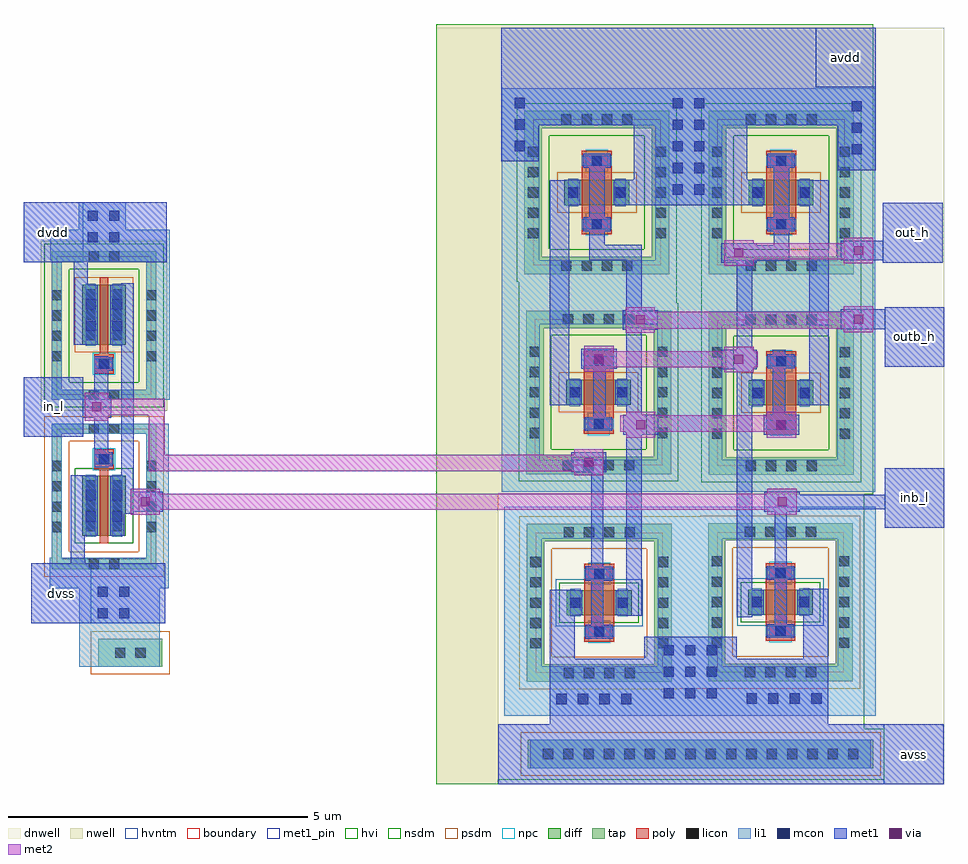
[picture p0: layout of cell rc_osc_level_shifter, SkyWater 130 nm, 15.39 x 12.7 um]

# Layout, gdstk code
import gdstk
lib = gdstk.Library(unit=1e-6, precision=1e-09)
def R(c, l, rs):  # rectangles x0, y0, x1, y1
    for r in rs: c.add(gdstk.rectangle(r[:2], r[2:], *l))
def A(c, l, x, y, w, h, nx, ny, dx, dy):  # array of equal rectangles
    R(c, l, [(x+i*dx, y+j*dy, x+i*dx+w, y+j*dy+h) for i in range(nx) for j in range(ny)])
dnwell = (64, 18)
nwell = (64, 20)
diff = (65, 20)
tap = (65, 44)
poly = (66, 20)
licon = (66, 44)
li1 = (67, 20)
mcon = (67, 44)
met1_pin = (68, 16)
met1 = (68, 20)
via = (68, 44)
met2 = (69, 20)
hvi = (75, 20)
nsdm = (93, 44)
psdm = (94, 20)
npc = (95, 20)
hvntm = (125, 20)
boundary = (235, 4)

sky130_fd_pr__nfet_g5v0d = lib.new_cell('sky130_fd_pr__nfet_g5v0d10v5_6XHUDR')
R(sky130_fd_pr__nfet_g5v0d, diff, [(-0.54,-0.21,0.54,0.21)])
R(sky130_fd_pr__nfet_g5v0d, tap, [(-1.21,-1.32,1.21,-1.03), (-1.21,-1.03,-0.92,1.03), (0.92,-1.03,1.21,1.03), (-1.21,1.03,1.21,1.32)])
R(sky130_fd_pr__nfet_g5v0d, poly, [(-0.25,-0.65,0.25,0.65)])
A(sky130_fd_pr__nfet_g5v0d, licon, -0.595, -1.26, 0.17, 0.17, 4, 2, 0.34, 2.35)
A(sky130_fd_pr__nfet_g5v0d, licon, -1.15, -0.765, 0.17, 0.17, 1, 5, 0, 0.34)
A(sky130_fd_pr__nfet_g5v0d, licon, 0.98, -0.765, 0.17, 0.17, 1, 5, 0, 0.34)
R(sky130_fd_pr__nfet_g5v0d, licon, [(-0.085,-0.57,0.085,-0.4), (-0.48,-0.085,-0.31,0.085), (0.31,-0.085,0.48,0.085), (-0.085,0.4,0.085,0.57)])
R(sky130_fd_pr__nfet_g5v0d, li1, [(-1.15,-1.26,1.15,-1.09), (-1.15,-1.09,-0.98,1.09), (0.98,-1.09,1.15,1.09), (-0.25,-0.57,0.25,-0.4), (-0.48,-0.23,-0.31,0.23), (0.31,-0.23,0.48,0.23), (-0.25,0.4,0.25,0.57), (-1.15,1.09,1.15,1.26)])
R(sky130_fd_pr__nfet_g5v0d, mcon, [(-0.085,-0.57,0.085,-0.4), (-0.48,-0.085,-0.31,0.085), (0.31,-0.085,0.48,0.085), (-0.085,0.4,0.085,0.57)])
R(sky130_fd_pr__nfet_g5v0d, met1, [(-0.23,-0.6,0.23,-0.37), (-0.51,-0.21,-0.28,0.21), (0.28,-0.21,0.51,0.21), (-0.23,0.37,0.23,0.6)])
R(sky130_fd_pr__nfet_g5v0d, hvi, [(-1.395,-1.505,1.395,1.505)])
R(sky130_fd_pr__nfet_g5v0d, nsdm, [(-0.665,-0.335,0.665,0.335)])
R(sky130_fd_pr__nfet_g5v0d, psdm, [(-1.335,-1.445,1.335,-0.905), (-1.335,-0.905,-0.795,0.905), (0.795,-0.905,1.335,0.905), (-1.335,0.905,1.335,1.445)])
R(sky130_fd_pr__nfet_g5v0d, npc, [(-0.185,-0.67,0.185,-0.3), (-0.185,0.3,0.185,0.67)])
R(sky130_fd_pr__nfet_g5v0d, hvntm, [(-0.725,-0.395,0.725,0.395)])
R(sky130_fd_pr__nfet_g5v0d, boundary, [(-1.06,-1.17,1.06,1.17)])

sky130_fd_pr__pfet_g5v0d = lib.new_cell('sky130_fd_pr__pfet_g5v0d10v5_6ELFTH')
R(sky130_fd_pr__pfet_g5v0d, nwell, [(-1.54,-1.695,1.54,1.695)])
R(sky130_fd_pr__pfet_g5v0d, diff, [(-0.54,-0.21,0.54,0.21)])
R(sky130_fd_pr__pfet_g5v0d, tap, [(-1.21,-1.365,1.21,-1.075), (-1.21,-1.075,-0.92,1.075), (0.92,-1.075,1.21,1.075), (-1.21,1.075,1.21,1.365)])
R(sky130_fd_pr__pfet_g5v0d, poly, [(-0.25,-0.695,0.25,0.695)])
A(sky130_fd_pr__pfet_g5v0d, licon, -0.595, -1.305, 0.17, 0.17, 4, 2, 0.34, 2.44)
A(sky130_fd_pr__pfet_g5v0d, licon, -1.15, -0.765, 0.17, 0.17, 1, 5, 0, 0.34)
A(sky130_fd_pr__pfet_g5v0d, licon, 0.98, -0.765, 0.17, 0.17, 1, 5, 0, 0.34)
R(sky130_fd_pr__pfet_g5v0d, licon, [(-0.085,-0.615,0.085,-0.445), (-0.48,-0.085,-0.31,0.085), (0.31,-0.085,0.48,0.085), (-0.085,0.445,0.085,0.615)])
R(sky130_fd_pr__pfet_g5v0d, li1, [(-1.15,-1.305,1.15,-1.135), (-1.15,-1.135,-0.98,1.135), (0.98,-1.135,1.15,1.135), (-0.25,-0.615,0.25,-0.445), (-0.48,-0.23,-0.31,0.23), (0.31,-0.23,0.48,0.23), (-0.25,0.445,0.25,0.615), (-1.15,1.135,1.15,1.305)])
R(sky130_fd_pr__pfet_g5v0d, mcon, [(-0.085,-0.615,0.085,-0.445), (-0.48,-0.085,-0.31,0.085), (0.31,-0.085,0.48,0.085), (-0.085,0.445,0.085,0.615)])
R(sky130_fd_pr__pfet_g5v0d, met1, [(-0.23,-0.645,0.23,-0.415), (-0.51,-0.21,-0.28,0.21), (0.28,-0.21,0.51,0.21), (-0.23,0.415,0.23,0.645)])
R(sky130_fd_pr__pfet_g5v0d, hvi, [(-1.54,-1.695,1.54,1.695)])
R(sky130_fd_pr__pfet_g5v0d, nsdm, [(-1.335,-1.49,1.335,-0.95), (-1.335,-0.95,-0.795,0.95), (0.795,-0.95,1.335,0.95), (-1.335,0.95,1.335,1.49)])
R(sky130_fd_pr__pfet_g5v0d, psdm, [(-0.665,-0.335,0.665,0.335)])
R(sky130_fd_pr__pfet_g5v0d, npc, [(-0.185,-0.715,0.185,-0.345), (-0.185,0.345,0.185,0.715)])
R(sky130_fd_pr__pfet_g5v0d, boundary, [(-1.065,-1.22,1.065,1.22)])

sky130_fd_pr__pfet_01v8_ = lib.new_cell('sky130_fd_pr__pfet_01v8_LGS3BL')
R(sky130_fd_pr__pfet_01v8_, nwell, [(-1.055,-1.42,1.055,1.42)])
R(sky130_fd_pr__pfet_01v8_, diff, [(-0.365,-0.32,0.365,0.68)])
R(sky130_fd_pr__pfet_01v8_, tap, [(-0.875,-1.24,0.875,-1.07), (-0.875,-1.07,-0.705,1.07), (0.705,-1.07,0.875,1.07), (-0.875,1.07,0.875,1.24)])
R(sky130_fd_pr__pfet_01v8_, poly, [(-0.165,-0.805,0.165,-0.475), (-0.075,-0.475,0.075,0.81)])
A(sky130_fd_pr__pfet_01v8_, licon, -0.875, -0.595, 0.17, 0.17, 1, 4, 0, 0.34)
A(sky130_fd_pr__pfet_01v8_, licon, 0.705, -0.595, 0.17, 0.17, 1, 4, 0, 0.34)
A(sky130_fd_pr__pfet_01v8_, licon, -0.305, -0.245, 0.17, 0.17, 1, 3, 0, 0.34)
A(sky130_fd_pr__pfet_01v8_, licon, 0.135, -0.245, 0.17, 0.17, 1, 3, 0, 0.34)
R(sky130_fd_pr__pfet_01v8_, licon, [(-0.255,-1.24,-0.085,-1.07), (0.085,-1.24,0.255,-1.07), (-0.085,-0.725,0.085,-0.555), (-0.255,1.07,-0.085,1.24), (0.085,1.07,0.255,1.24)])
R(sky130_fd_pr__pfet_01v8_, li1, [(-0.875,-1.24,0.875,-1.07), (-0.875,-1.07,-0.705,1.07), (0.705,-1.07,0.875,1.07), (-0.165,-0.725,0.165,-0.555), (-0.305,-0.34,-0.135,0.7), (0.135,-0.34,0.305,0.7), (-0.875,1.07,0.875,1.24)])
R(sky130_fd_pr__pfet_01v8_, mcon, [(-0.085,-0.725,0.085,-0.555), (-0.305,-0.085,-0.135,0.085), (0.135,-0.085,0.305,0.085), (-0.305,0.275,-0.135,0.445), (0.135,0.275,0.305,0.445)])
R(sky130_fd_pr__pfet_01v8_, met1, [(-0.145,-0.755,0.145,-0.525), (-0.335,-0.32,-0.105,0.68), (0.105,-0.32,0.335,0.68)])
R(sky130_fd_pr__pfet_01v8_, nsdm, [(-1,-1.365,1,-0.945), (-1,-0.945,-0.58,0.945), (0.58,-0.945,1,0.945), (-1,0.945,1,1.365)])
R(sky130_fd_pr__pfet_01v8_, psdm, [(-0.49,-0.445,0.49,0.805)])
R(sky130_fd_pr__pfet_01v8_, npc, [(-0.185,-0.825,0.185,-0.455)])
R(sky130_fd_pr__pfet_01v8_, boundary, [(-0.79,-1.155,0.79,1.155)])

sky130_fd_pr__nfet_01v8_ = lib.new_cell('sky130_fd_pr__nfet_01v8_64Z3AY')
R(sky130_fd_pr__nfet_01v8_, diff, [(-0.365,-0.655,0.365,0.345)])
R(sky130_fd_pr__nfet_01v8_, tap, [(-0.875,-1.215,0.875,-1.045), (-0.875,-1.045,-0.705,1.045), (0.705,-1.045,0.875,1.045), (-0.875,1.045,0.875,1.215)])
R(sky130_fd_pr__nfet_01v8_, poly, [(-0.075,-0.785,0.075,0.455), (-0.165,0.455,0.165,0.785)])
A(sky130_fd_pr__nfet_01v8_, licon, -0.875, -0.595, 0.17, 0.17, 1, 4, 0, 0.34)
A(sky130_fd_pr__nfet_01v8_, licon, 0.705, -0.595, 0.17, 0.17, 1, 4, 0, 0.34)
A(sky130_fd_pr__nfet_01v8_, licon, -0.305, -0.58, 0.17, 0.17, 1, 3, 0, 0.34)
A(sky130_fd_pr__nfet_01v8_, licon, 0.135, -0.58, 0.17, 0.17, 1, 3, 0, 0.34)
R(sky130_fd_pr__nfet_01v8_, licon, [(-0.255,-1.215,-0.085,-1.045), (0.085,-1.215,0.255,-1.045), (-0.085,0.535,0.085,0.705), (-0.255,1.045,-0.085,1.215), (0.085,1.045,0.255,1.215)])
R(sky130_fd_pr__nfet_01v8_, li1, [(-0.875,-1.215,0.875,-1.045), (-0.875,-1.045,-0.705,1.045), (0.705,-1.045,0.875,1.045), (-0.305,-0.675,-0.135,0.365), (0.135,-0.675,0.305,0.365), (-0.165,0.535,0.165,0.705), (-0.875,1.045,0.875,1.215)])
R(sky130_fd_pr__nfet_01v8_, mcon, [(-0.305,-0.42,-0.135,-0.25), (0.135,-0.42,0.305,-0.25), (-0.305,-0.06,-0.135,0.11), (0.135,-0.06,0.305,0.11), (-0.085,0.535,0.085,0.705)])
R(sky130_fd_pr__nfet_01v8_, met1, [(-0.335,-0.655,-0.105,0.345), (0.105,-0.655,0.335,0.345), (-0.145,0.505,0.145,0.735)])
R(sky130_fd_pr__nfet_01v8_, nsdm, [(-0.49,-0.78,0.49,0.47)])
R(sky130_fd_pr__nfet_01v8_, psdm, [(-1,-1.34,1,-0.92), (-1,-0.92,-0.58,0.92), (0.58,-0.92,1,0.92), (-1,0.92,1,1.34)])
R(sky130_fd_pr__nfet_01v8_, npc, [(-0.185,0.435,0.185,0.805)])
R(sky130_fd_pr__nfet_01v8_, boundary, [(-0.79,-1.13,0.79,1.13)])

rc_osc_level_shifter = lib.new_cell('rc_osc_level_shifter')
R(rc_osc_level_shifter, dnwell, [(4.79,-12.32,13.28,0.32)])
R(rc_osc_level_shifter, nwell, [(4.79,-12.32,5.82,-7.47), (4.79,-7.47,5.96,-0.74), (4.79,-0.74,12.09,0.38)])
R(rc_osc_level_shifter, tap, [(6.32,-12.06,12.09,-11.58), (-0.86,-10.36,0.21,-9.89)])
A(rc_osc_level_shifter, licon, 6.57, -11.905, 0.17, 0.17, 16, 1, 0.34, 0)
R(rc_osc_level_shifter, licon, [(-0.58,-10.21,-0.41,-10.04), (-0.24,-10.21,-0.07,-10.04)])
R(rc_osc_level_shifter, li1, [(6.36,-12.06,12.05,-11.58), (5.92,-11.18,12.13,-10.35), (-1.18,-10.36,0.17,-9.05), (5.92,-10.35,6.55,-8.22), (8.49,-10.35,9.57,-8.22), (11.5,-10.35,12.13,-8.22), (-1.67,-9.05,0.32,-8.54), (-0.01,-8.54,0.32,-6.3), (5.92,-8.22,12.13,-7.69), (5.88,-7.44,12.12,-6.9), (5.88,-6.9,6.51,-4.57), (8.57,-6.9,9.47,-4.57), (11.49,-6.9,12.12,-4.57), (-0.01,-5.9,0.33,-3.57), (5.88,-4.57,12.12,-3.64), (5.88,-3.64,6.51,-1.31), (8.57,-3.64,9.47,-1.31), (11.49,-3.64,12.12,-1.31), (-1.66,-3.57,0.33,-3.06), (-1.19,-3.06,-0.4,-2.6), (5.88,-1.31,12.12,-0.69)])
A(rc_osc_level_shifter, mcon, 6.795, -10.985, 0.17, 0.17, 4, 1, 0.36, 0)
A(rc_osc_level_shifter, mcon, 9.975, -10.975, 0.17, 0.17, 4, 1, 0.36, 0)
A(rc_osc_level_shifter, mcon, 8.585, -10.89, 0.17, 0.17, 3, 3, 0.36, 0.36)
A(rc_osc_level_shifter, mcon, 8.735, -2.47, 0.17, 0.17, 1, 5, 0, 0.36)
A(rc_osc_level_shifter, mcon, 9.095, -2.47, 0.17, 0.17, 1, 5, 0, 0.36)
A(rc_osc_level_shifter, mcon, 11.73, -1.8, 0.17, 0.17, 1, 3, 0, 0.36)
A(rc_osc_level_shifter, mcon, 6.1, -1.745, 0.17, 0.17, 1, 3, 0, 0.36)
R(rc_osc_level_shifter, mcon, [(-0.87,-9.55,-0.7,-9.38), (-0.51,-9.55,-0.34,-9.38), (-0.87,-9.19,-0.7,-9.02), (-0.51,-9.19,-0.34,-9.02), (-1.04,-3.27,-0.87,-3.1), (-0.68,-3.27,-0.51,-3.1), (-1.04,-2.91,-0.87,-2.74), (-0.68,-2.91,-0.51,-2.74)])
R(rc_osc_level_shifter, met1_pin, [(12.265,-12.32,13.265,-11.32), (-1.98,-9.63,-0.98,-8.63), (12.28,-8.04,13.28,-7.04), (-2.11,-6.52,-1.11,-5.52), (12.28,-5.35,13.28,-4.35), (12.25,-3.61,13.25,-2.61), (-2.11,-3.6,-1.11,-2.6), (11.13,-0.68,12.13,0.32)])
R(rc_osc_level_shifter, met1, [(5.825,-12.32,13.265,-11.32), (6.68,-11.32,11.34,-10.23), (6.68,-10.23,7.1,-9.07), (8.26,-10.23,9.81,-9.86), (10.92,-10.23,11.34,-9.06), (10.44,-9.82,10.64,-7.77), (7.38,-9.81,7.58,-8.69), (-1.98,-9.63,0.26,-8.63), (9.81,-9.53,10.07,-5.39), (7.96,-9.51,8.22,-6.48), (7.28,-8.69,7.58,-8.68), (7.38,-8.68,7.58,-7.11), (-1.32,-8.63,-1.08,-8.57), (-1.32,-8.57,-1.09,-7.16), (12.28,-8.04,13.28,-7.73), (-0.48,-7.8,-0.27,-7.77), (-0.48,-7.77,0.22,-7.44), (10.27,-7.77,10.86,-7.73), (10.27,-7.73,13.28,-7.49), (10.27,-7.49,10.86,-7.44), (12.28,-7.49,13.28,-7.04), (-0.48,-7.44,-0.27,-3.95), (7.04,-7.11,7.63,-6.78), (-0.93,-7.03,-0.69,-6.2), (-2.11,-6.52,-1.11,-6.2), (7.91,-6.48,8.5,-6.15), (10.26,-6.48,10.85,-6.15), (7.41,-6.37,7.62,-5.38), (-2.11,-6.2,-0.64,-5.83), (7.96,-6.15,8.22,-4.73), (10.41,-6.15,10.62,-5.06), (6.68,-5.99,7.01,-2.23), (11.02,-5.99,11.35,-2.23), (-2.11,-5.83,-1.11,-5.52), (-0.93,-5.83,-0.69,-5.17), (9.55,-5.39,10.14,-5.06), (7.21,-5.38,7.8,-5.05), (12.28,-5.35,13.28,-4.72), (9.81,-5.06,10.07,-3.61), (-1.27,-4.98,-1.04,-3.6), (7.9,-4.73,8.49,-4.4), (11.55,-4.72,13.28,-4.39), (7.96,-4.4,8.22,-3.57), (12.28,-4.39,13.28,-4.35), (9.55,-3.61,10.14,-3.58), (12.25,-3.61,13.25,-3.57), (-2.11,-3.6,0.28,-2.6), (9.55,-3.58,10.69,-3.32), (7.34,-3.57,8.22,-3.31), (11.55,-3.57,13.25,-3.24), (9.55,-3.32,10.14,-3.28), (10.43,-3.32,10.69,-1.84), (7.34,-3.31,7.6,-1.83), (12.25,-3.24,13.25,-2.61), (7.77,-2.65,10.24,-2.22), (8.09,-2.22,9.98,-1.315), (11.5,-2.06,12.13,-1.315), (5.87,-1.91,6.5,-1.315), (5.87,-1.315,12.13,0.32)])
R(rc_osc_level_shifter, via, [(-0.15,-7.68,0,-7.53), (10.49,-7.68,10.64,-7.53), (7.26,-7.02,7.41,-6.87), (8.13,-6.39,8.28,-6.24), (10.48,-6.39,10.63,-6.24), (-0.965,-6.09,-0.815,-5.94), (9.77,-5.3,9.92,-5.15), (7.43,-5.29,7.58,-5.14), (8.12,-4.64,8.27,-4.49), (11.77,-4.63,11.92,-4.48), (9.77,-3.52,9.92,-3.37), (11.77,-3.48,11.92,-3.33)])
R(rc_osc_level_shifter, met2, [(-0.32,-7.82,0.17,-7.74), (10.32,-7.82,10.81,-7.74), (-0.32,-7.74,10.81,-7.47), (-0.32,-7.47,0.17,-7.39), (10.32,-7.47,10.81,-7.39), (7.09,-7.16,7.58,-7.09), (-0.02,-7.09,7.58,-6.82), (-0.02,-6.82,0.25,-6.155), (7.09,-6.82,7.58,-6.73), (7.96,-6.53,8.45,-6.43), (10.31,-6.53,10.8,-6.43), (7.86,-6.43,10.8,-6.16), (-1.09,-6.25,-0.69,-6.155), (7.96,-6.16,8.45,-6.1), (10.31,-6.16,10.8,-6.1), (-1.09,-6.155,0.25,-5.885), (-1.09,-5.885,-0.69,-5.78), (9.6,-5.44,10.09,-5.36), (7.26,-5.43,7.75,-5.36), (7.26,-5.36,10.16,-5.09), (7.26,-5.09,7.75,-5), (9.6,-5.09,10.09,-5.01), (7.95,-4.78,8.44,-4.71), (11.6,-4.77,12.09,-4.71), (7.95,-4.71,12.09,-4.43), (7.95,-4.43,8.44,-4.35), (11.6,-4.43,12.09,-4.34), (9.6,-3.66,10.09,-3.55), (11.6,-3.62,12.09,-3.55), (9.6,-3.55,12.09,-3.28), (9.6,-3.28,10.09,-3.23), (11.6,-3.28,12.09,-3.19)])
R(rc_osc_level_shifter, hvi, [(4.79,-12.32,5.82,-12.245), (4.79,-12.245,12.275,-11.395), (4.79,-11.395,11.935,-10.795), (4.79,-10.795,6.115,-7.785), (8.905,-10.795,11.935,-10.785), (8.905,-10.785,9.145,-7.785), (4.79,-7.785,9.145,-7.775), (4.79,-7.775,11.935,-7.48), (4.79,-7.48,9.01,-7.47), (4.79,-7.47,5.96,-4.13), (4.79,-4.13,5.93,-0.74), (4.79,-0.74,12.09,0.38)])
R(rc_osc_level_shifter, nsdm, [(9.215,-4.295,11.885,-3.925), (6.165,-4.285,8.805,-3.925)])
R(rc_osc_level_shifter, psdm, [(6.195,-12.185,12.215,-11.455), (8.845,-10.725,9.205,-7.845), (-0.985,-10.485,0.335,-9.765)])
rc_osc_level_shifter.add(gdstk.Reference(sky130_fd_pr__nfet_g5v0d, (7.51,-9.29)))
rc_osc_level_shifter.add(gdstk.Reference(sky130_fd_pr__nfet_g5v0d, (10.54,-9.28)))
rc_osc_level_shifter.add(gdstk.Reference(sky130_fd_pr__pfet_g5v0d, (7.5,-5.775)))
rc_osc_level_shifter.add(gdstk.Reference(sky130_fd_pr__pfet_g5v0d, (7.47,-2.435)))
rc_osc_level_shifter.add(gdstk.Reference(sky130_fd_pr__pfet_g5v0d, (10.55,-2.435)))
rc_osc_level_shifter.add(gdstk.Reference(sky130_fd_pr__pfet_g5v0d, (10.55,-5.785)))
rc_osc_level_shifter.add(gdstk.Reference(sky130_fd_pr__pfet_01v8_, (-0.765,-4.66)))
rc_osc_level_shifter.add(gdstk.Reference(sky130_fd_pr__nfet_01v8_, (-0.765,-7.515)))
rc_osc_level_shifter.add(gdstk.Label('dvdd', (-1.61,-3.1), layer=68, texttype=5))
rc_osc_level_shifter.add(gdstk.Label('out_h', (12.75,-3.11), layer=68, texttype=5))
rc_osc_level_shifter.add(gdstk.Label('avdd', (11.63,-0.18), layer=68, texttype=5))
rc_osc_level_shifter.add(gdstk.Label('outb_h', (12.78,-4.85), layer=68, texttype=5))
rc_osc_level_shifter.add(gdstk.Label('in_l', (-1.61,-6.02), layer=68, texttype=5))
rc_osc_level_shifter.add(gdstk.Label('dvss', (-1.48,-9.13), layer=68, texttype=5))
rc_osc_level_shifter.add(gdstk.Label('avss', (12.765,-11.82), layer=68, texttype=5))
rc_osc_level_shifter.add(gdstk.Label('inb_l', (12.78,-7.54), layer=68, texttype=5))

lib.write_gds('rc_osc_level_shifter.gds')
